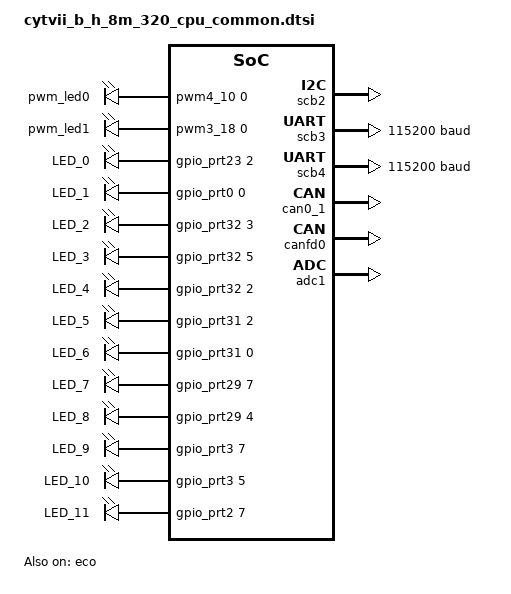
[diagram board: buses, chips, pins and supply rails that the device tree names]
/*
 * Copyright (c) 2026 Infineon Technologies AG,
 * or an affiliate of Infineon Technologies AG.
 * Copyright (c) 2026 Linumiz
 *
 * SPDX-License-Identifier: Apache-2.0
 */

#include <arm/infineon/cat1c/traveo/cyt4bf/cyt4bfcche.dtsi>
#include <zephyr/dt-bindings/input/input-event-codes.h>
#include <zephyr/dt-bindings/pinctrl/ifx_cat1-pinctrl.h>
#include <zephyr/dt-bindings/pwm/pwm.h>

/ {

	pwmleds {
		compatible = "pwm-leds";

		pwm_led0: pwm_led_0 {
			pwms = <&pwm4_10 0 PWM_MSEC(20) PWM_POLARITY_NORMAL>;
		};

		pwm_led1: pwm_led_1 {
			pwms = <&pwm3_18 0 PWM_MSEC(20) PWM_POLARITY_NORMAL>;
		};
	};

	leds {
		compatible = "gpio-leds";

		cpu_user_led0: led0 {
			label = "LED_0";
			gpios = <&gpio_prt23 2 GPIO_ACTIVE_HIGH>;
		};

		cpu_user_led1: led1 {
			label = "LED_1";
			gpios = <&gpio_prt0 0 GPIO_ACTIVE_HIGH>;
		};

		bb_user_led0: led2 {
			label = "LED_2";
			gpios = <&gpio_prt32 3 GPIO_ACTIVE_HIGH>;
		};

		bb_user_led1: led3 {
			label = "LED_3";
			gpios = <&gpio_prt32 5 GPIO_ACTIVE_HIGH>;
		};

		bb_user_led2: led4 {
			label = "LED_4";
			gpios = <&gpio_prt32 2 GPIO_ACTIVE_HIGH>;
		};

		bb_user_led3: led5 {
			label = "LED_5";
			gpios = <&gpio_prt31 2 GPIO_ACTIVE_HIGH>;
		};

		bb_user_led4: led6 {
			label = "LED_6";
			gpios = <&gpio_prt31 0 GPIO_ACTIVE_HIGH>;
		};

		bb_user_led5: led7 {
			label = "LED_7";
			gpios = <&gpio_prt29 7 GPIO_ACTIVE_HIGH>;
		};

		bb_user_led6: led8 {
			label = "LED_8";
			gpios = <&gpio_prt29 4 GPIO_ACTIVE_HIGH>;
		};

		bb_user_led7: led9 {
			label = "LED_9";
			gpios = <&gpio_prt3 7 GPIO_ACTIVE_HIGH>;
		};

		bb_user_led8: led10 {
			label = "LED_10";
			gpios = <&gpio_prt3 5 GPIO_ACTIVE_HIGH>;
		};

		bb_user_led9: led11 {
			label = "LED_11";
			gpios = <&gpio_prt2 7 GPIO_ACTIVE_HIGH>;
		};
	};

	reserved-memory {
		#address-cells = <1>;
		#size-cells = <1>;

		sram_m0plus: memory@28000800 {
			compatible = "mmio-sram";
			reg = <0x28000800 DT_SIZE_K(16)>;
		};

		sram_m7_0: memory@28004000 {
			compatible = "mmio-sram";
			reg = <0x28004000  DT_SIZE_K(816)>;
		};

		sram_m7_1: memory@280d0000 {
			compatible = "mmio-sram";
			reg = <0x280d0000 DT_SIZE_K(64)>;
		};
	};
};

&code_flash0 {
        partitions {
                ranges;
                #address-cells = <1>;
                #size-cells = <1>;

                m0p_partition: partition_m0p@0 {
                        compatible = "zephyr,mapped-partition";
                        label = "m0p_partition";
                        reg = <0x0 DT_SIZE_K(512)>;
                };

                m7_0_partition: partition@80000 {
                        compatible = "zephyr,mapped-partition";
                        label = "m7_0_partition";
                        reg = <0x80000 DT_SIZE_K(2048)>;
                };

                m7_1_partition: partition@280000 {
                        compatible = "zephyr,mapped-partition";
                        label = "m7_1_partition";
                        reg = <0x280000 DT_SIZE_K(5824)>;
                };
        };
};

i2c2: &scb2 {
        compatible = "infineon,i2c";
        #address-cells = <1>;
        #size-cells = <0>;
        clocks = <&clk_peri1 32 0 2>;
        /* I2C pins */
	pinctrl-0 = <&p14_2_scb2_i2c_scl &p14_1_scb2_i2c_sda>;
	pinctrl-names = "default";
        status = "okay";
};

uart3: &scb3 {
        compatible = "infineon,uart";
        current-speed = <115200>;
        clocks = <&clk_peri1 33 0 1>;

        /* UART pins */
	pinctrl-0 = <&p13_1_scb3_uart_tx &p13_0_scb3_uart_rx
			 &p13_2_scb3_uart_rts &p13_3_scb3_uart_cts>;
        pinctrl-names = "default";

	dmas = <&dma1 22>, <&dma1 23>;
	dma-names = "tx", "rx";
};

uart4: &scb4 {
        compatible = "infineon,uart";
        current-speed = <115200>;
        clocks = <&clk_peri1 34 0 2>;

        /* UART pins */
	pinctrl-0 = <&p10_1_scb4_uart_tx &p10_0_scb4_uart_rx
			 &p10_2_scb4_uart_rts &p10_3_scb4_uart_cts>;
        pinctrl-names = "default";

	dmas = <&dma1 24>, <&dma1 25>;
	dma-names = "tx", "rx";
};

spi5: &scb5 {
	#address-cells = <1>;
	#size-cells = <0>;
	compatible = "infineon,spi";
	clocks = <&clk_peri1 35 1 3>;

	/* SPI pins */
	pinctrl-0 = <&p4_0_scb5_spi_m_miso &p4_1_scb5_spi_m_mosi &p4_2_scb5_spi_m_clk>;
	pinctrl-names = "default";
	cs-gpios = <&gpio_prt4 3 GPIO_ACTIVE_LOW>;

	dmas = <&dma1 26>, <&dma1 27>;
	dma-names = "tx", "rx";
};

can0: &can0_1 {
        clocks = <&clk_peri1 1 1 0>;
        frequency = <40000000>;
        pinctrl-0 = <&p0_2_can0_1_tx &p0_3_can0_1_rx>;
        pinctrl-names = "default";
        status = "okay";
};

&canfd0 {
	status = "okay";
};

&dma1 {
	status = "okay";
};

&adc1 {
        #address-cells = <1>;
        #size-cells = <0>;
        clocks = <&clk_peri1 43 0 3>;
        clock-frequency = <26670000>;
        status = "okay";
};

&gpio_prt0 {
	status = "okay";
};

&gpio_prt2 {
	status = "okay";
};

&gpio_prt3 {
	status = "okay";
};

&gpio_prt10 {
	status = "okay";
};

&gpio_prt13 {
	status = "okay";
};

&gpio_prt14 {
	status = "okay";
};

&gpio_prt23 {
	status = "okay";
};

&gpio_prt29 {
	status = "okay";
};

&gpio_prt31 {
	status = "okay";
};

&gpio_prt32 {
	status = "okay";
};

&eco {
        status = "okay";
};

&pll0 {
        status = "okay";
};

&pll1 {
        status = "okay";
};

&pll2 {
        status = "okay";
};

&pll3 {
        status = "okay";
};

&clk_hf0 {
        status = "okay";
};

&clk_hf1 {
        status = "okay";
};

&clk_hf2 {
        status = "okay";
};

&clk_hf3 {
        status = "okay";
};

&clk_hf4 {
        status = "okay";
};

&clk_hf5 {
        status = "okay";
};

&clk_hf6 {
        status = "okay";
};

&clk_hf7 {
        status = "okay";
};

&clk_peri1 {
        status = "okay";
};
